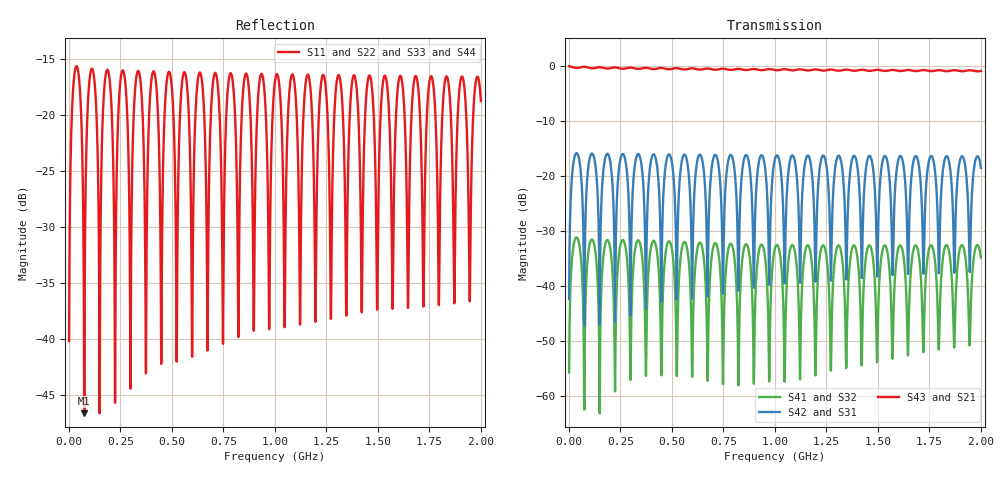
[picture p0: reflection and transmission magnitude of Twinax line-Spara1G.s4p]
! TOUCHSTONE file generated by CST DESIGN STUDIO
! Date and time: Fri Sep 25 15:58:13 2020
! Project name: D:\¿ÆÑÐ¹¤×÷\mst-visit\CST\Twinax line-Spara1G.cst
! Tree item: Tasks\SPara1\S-Parameters
# MHZ S MA R 50
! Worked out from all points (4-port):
!   2000 points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, 1 MHz to 2 GHz, reference 50 ohm
!   strongest paths, dB at 1 MHz, 501 MHz, 1.001 GHz, 1.501 GHz, 2 GHz:
!     S43: 0.0, -0.5, -0.7, -0.7, -0.9
!     S21: 0.0, -0.5, -0.7, -0.7, -0.9
!     S42: -42.3, -17.7, -16.8, -30.2, -18.5
!     S31: -42.3, -17.7, -16.8, -30.2, -18.5
!     S41: -55.7, -33.5, -33.0, -45.2, -34.8
!     S32: -55.7, -33.5, -33.0, -45.2, -34.8
!   lowest |S11| = -46.7 dB at 74 MHz (marker M1), VSWR 1.01, Z = 50.3 - j0.356 ohm
!   |S11| at or under -10 dB: start of sweep to end of sweep
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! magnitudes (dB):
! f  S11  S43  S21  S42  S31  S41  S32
! 1 MHz  -40.2  0.0  0.0  -42.3  -42.3  -55.7  -55.7
! 33 MHz  -15.7  -0.3  -0.3  -15.9  -15.9  -31.2  -31.2
! 74 MHz  -46.7  -0.1  -0.1  -46.6  -46.6  -60.8  -60.8
! 111 MHz  -15.8  -0.4  -0.4  -15.9  -15.9  -31.5  -31.5
! 149 MHz  -46.7  -0.2  -0.2  -47.0  -47.0  -63.1  -63.1
! 186 MHz  -15.9  -0.5  -0.5  -15.9  -15.9  -31.6  -31.6
! 2 GHz  -18.7  -0.9  -0.9  -18.5  -18.5  -34.8  -34.8
